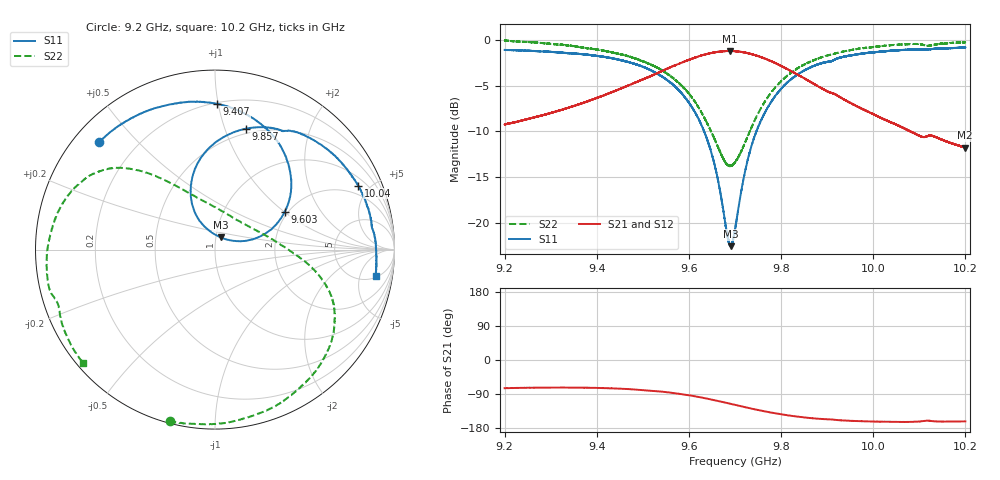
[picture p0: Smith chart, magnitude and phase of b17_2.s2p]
!Agilent Technologies,N5242A,MY51221714,A.09.90.19
!Agilent N5242A: A.09.90.19
!Date: Tuesday, March 26, 2024 16:56:34
!Correction: S11(Full 2 Port(1,2))
!S21(Full 2 Port(1,2))
!S12(Full 2 Port(1,2))
!S22(Full 2 Port(1,2))
!S2P File: Measurements: S11, S21, S12, S22:
# Hz S  dB  R 50
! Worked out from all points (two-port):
!   16001 points, 9.2 GHz to 10.2 GHz, reference 50 ohm
!   highest |S21| = -1.22 dB at 9.69 GHz (marker M1); lowest = -11.8 dB at 10.2 GHz (marker M2)
!   |S21| within 3 dB of the highest: 9.505171 GHz to 9.505292 GHz (120.7 kHz wide, 0.00127 % of centre); 9.505 GHz to 9.851 GHz (345.1 MHz wide, 3.57 % of centre)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
!   lowest |S11| = -22.5 dB at 9.69 GHz (marker M3), VSWR 1.16, Z = 52.7 + j7.19 ohm
!   |S11| at or under -10 dB: 9.633 GHz to 9.746 GHz (113.5 MHz wide, 1.17 % of centre); 9.74646 GHz to 9.746565 GHz (104.8 kHz wide, 0.00108 % of centre)
!   |S22| runs from -13.8 to -0.1 dB; largest |S21 - S12| = 0.011
!   S11 on the Smith chart (normalised r, x): 9.2 GHz: 0.07, +0.39; 9.407 GHz: 0.21, +0.99; 9.603 GHz: 1.92, +1.00; 9.857 GHz: 0.45, +1.18; 10.04 GHz: 1.40, +4.25; 10.2 GHz: 5, -9
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9.2e9  -1.11 137.1  -9.25 -74.4  -9.21 -75.2  -0.08 -104.8
9.27875e9  -1.26 119.9  -8.29 -73.1  -8.29 -73.7  -0.35 -83.5
9.366688e9  -1.56 99.6  -6.96 -73.0  -6.94 -73.7  -0.83 -60.5
9.407438e9  -1.81 89.2  -6.21 -74.0  -6.20 -74.7  -1.11 -50.3
9.469438e9  -2.44 72.3  -4.97 -76.8  -4.98 -77.5  -1.81 -35.9
9.533375e9  -3.78 52.4  -3.60 -82.6  -3.59 -83.2  -3.09 -22.0
9.603125e9  -7.11 28.5  -2.14 -93.7  -2.12 -94.4  -6.08 -7.0
9.648938e9  -12.38 15.5  -1.44 -104.4  -1.44 -104.9  -10.09 11.9
9.689625e9  -22.36 63.3  -1.22 -115.5  -1.21 -116.0  -13.80 59.9
9.690312e9  -22.54 65.4  -1.22 -115.6  -1.21 -116.2  -13.78 61.2
9.7e9  -20.79 97.1  -1.24 -118.4  -1.23 -118.9  -13.38 76.3
9.72625e9  -13.40 118.5  -1.45 -125.8  -1.42 -126.4  -10.70 106.3
9.754812e9  -9.02 112.5  -1.86 -133.1  -1.85 -133.8  -7.60 121.5
9.79675e9  -5.55 97.6  -2.76 -142.6  -2.78 -143.2  -4.70 132.2
9.857188e9  -3.16 75.8  -4.40 -152.4  -4.41 -153.0  -2.54 143.0
9.866688e9  -2.96 72.7  -4.68 -153.6  -4.68 -154.1  -2.32 144.6
9.93325e9  -1.89 52.9  -6.43 -159.4  -6.43 -160.0  -1.30 157.5
1.003338e10  -1.22 26.8  -8.91 -163.0  -8.90 -163.7  -0.62 179.1
1.004425e10  -1.17 24.1  -9.13 -163.2  -9.14 -163.7  -0.57 -178.4
1.009875e10  -1.06 11.6  -10.45 -162.4  -10.44 -162.9  -0.48 -166.1
1.019975e10  -0.87 -9.2  -11.79 -162.0  -11.78 -162.6  -0.29 -139.5
1.02e10  -0.84 -9.3  -11.77 -162.0  -11.77 -162.7  -0.28 -139.5
